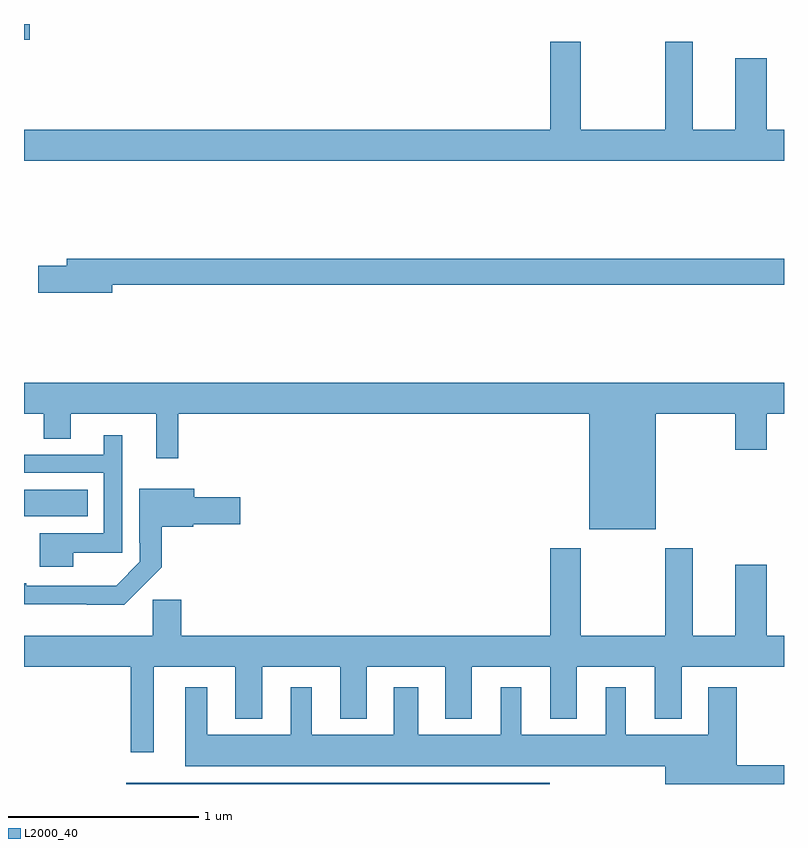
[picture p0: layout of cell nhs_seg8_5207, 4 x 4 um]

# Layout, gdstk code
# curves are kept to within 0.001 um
import gdstk
lib = gdstk.Library(unit=1e-6, precision=1e-09)
def R(c, l, rs):  # rectangles x0, y0, x1, y1
    for r in rs: c.add(gdstk.rectangle(r[:2], r[2:], *l))
def P(c, l, *ps):  # polygons
    for p in ps: c.add(gdstk.Polygon(p, *l))
L2000_40 = (2000, 40)

nhs_seg8_5207 = lib.new_cell('nhs_seg8_5207')
R(nhs_seg8_5207, L2000_40, [(425.538,1099.9,427.768,1099.906), (425,1101.308,425.336,1101.448), (425,1103.818,425.029,1103.9)])
P(nhs_seg8_5207, L2000_40, [(429,1103.344),(428.908,1103.344),(428.908,1103.719),(428.744,1103.719),(428.744,1103.344),(428.521,1103.344),(428.521,1103.806),(428.374,1103.806),(428.374,1103.344),(427.929,1103.344),(427.929,1103.806),(427.769,1103.806),(427.769,1103.344),(425,1103.344),(425,1103.18),(429,1103.18)],
  [(425.464,1102.528),(429,1102.528),(429,1102.664),(425.225,1102.664),(425.225,1102.628),(425.076,1102.628),(425.076,1102.486),(425.464,1102.486)],
  [(428.326,1101.848),(428.744,1101.848),(428.744,1101.66),(428.908,1101.66),(428.908,1101.848),(429,1101.848),(429,1102.012),(425,1102.012),(425,1101.848),(425.105,1101.848),(425.105,1101.718),(425.245,1101.718),(425.245,1101.848),(425.696,1101.848),(425.696,1101.615),(425.813,1101.615),(425.813,1101.848),(427.976,1101.848),(427.976,1101.242),(428.326,1101.242)],
  [(425.26,1101.116),(425.517,1101.116),(425.517,1101.736),(425.42,1101.736),(425.42,1101.633),(425,1101.633),(425,1101.537),(425.421,1101.537),(425.421,1101.22),(425.084,1101.22),(425.084,1101.044),(425.26,1101.044)],
  [(425.726,1101.041),(425.726,1101.253),(425.892,1101.253),(425.892,1101.266),(426.139,1101.266),(426.139,1101.408),(425.896,1101.408),(425.896,1101.454),(425.607,1101.454),(425.607,1101.169),(425.61,1101.169),(425.61,1101.069),(425.485,1100.944),(425.011,1100.943),(425.011,1100.956),(425,1100.956),(425,1100.846),(425.329,1100.846),(425.329,1100.844),(425.528,1100.844)],
  [(427.929,1101.142),(427.769,1101.142),(427.769,1100.68),(425.828,1100.68),(425.828,1100.871),(425.677,1100.871),(425.677,1100.68),(425,1100.68),(425,1100.516),(425.562,1100.516),(425.562,1100.067),(425.683,1100.067),(425.683,1100.516),(426.113,1100.516),(426.113,1100.243),(426.253,1100.243),(426.253,1100.516),(426.665,1100.516),(426.665,1100.243),(426.805,1100.243),(426.805,1100.516),(427.217,1100.516),(427.217,1100.243),(427.357,1100.243),(427.357,1100.516),(427.769,1100.516),(427.769,1100.243),(427.909,1100.243),(427.909,1100.516),(428.321,1100.516),(428.321,1100.243),(428.461,1100.243),(428.461,1100.516),(429,1100.516),(429,1100.68),(428.908,1100.68),(428.908,1101.055),(428.744,1101.055),(428.744,1100.68),(428.521,1100.68),(428.521,1101.142),(428.374,1101.142),(428.374,1100.68),(427.929,1100.68)],
  [(429,1100),(428.75,1100),(428.75,1100.41),(428.6,1100.41),(428.6,1100.158),(428.167,1100.158),(428.167,1100.41),(428.063,1100.41),(428.063,1100.158),(427.618,1100.158),(427.618,1100.41),(427.508,1100.41),(427.508,1100.158),(427.075,1100.158),(427.075,1100.41),(426.947,1100.41),(426.947,1100.158),(426.514,1100.158),(426.514,1100.41),(426.404,1100.41),(426.404,1100.158),(425.965,1100.158),(425.965,1100.41),(425.849,1100.41),(425.849,1099.994),(428.375,1099.994),(428.375,1099.9),(429,1099.9)])

lib.write_gds('nhs_seg8_5207.gds')
